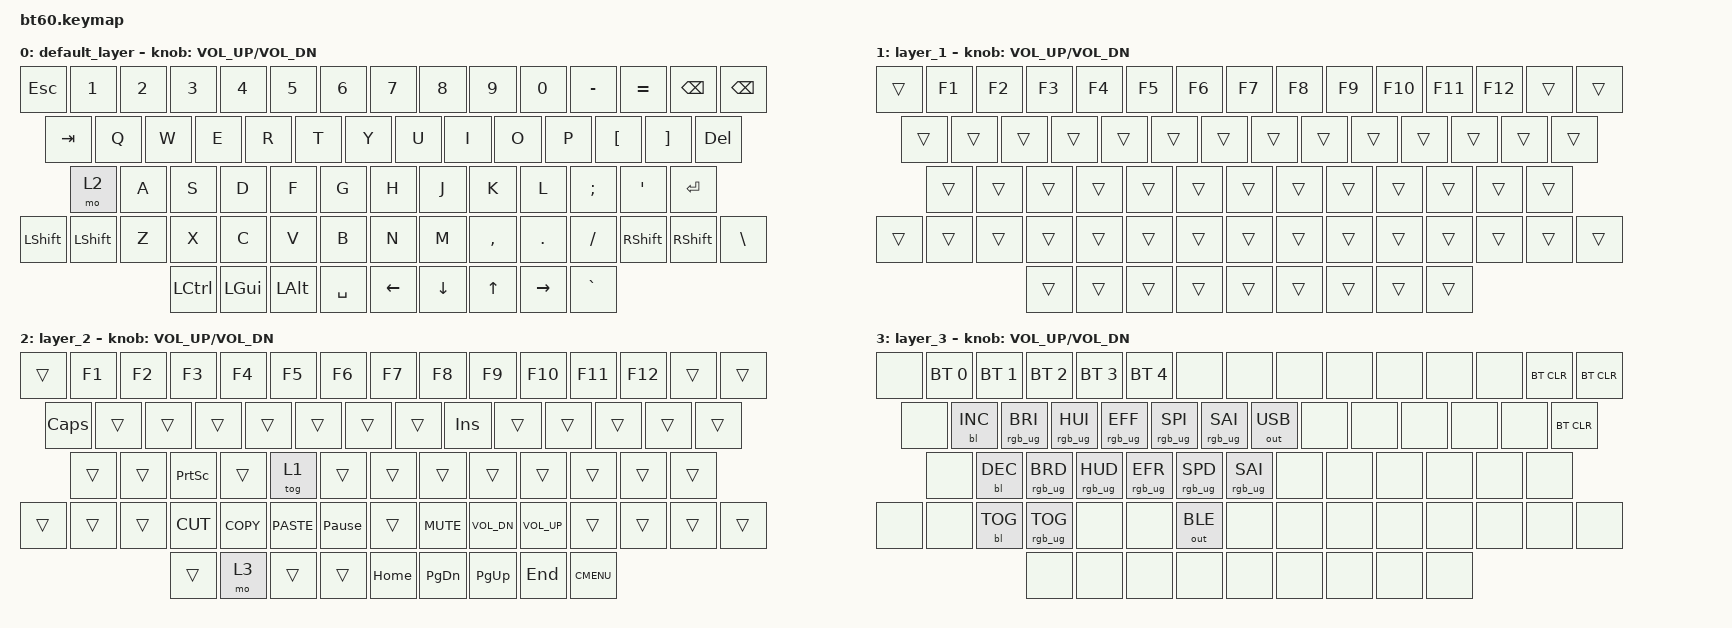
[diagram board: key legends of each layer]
#include <behaviors.dtsi>
#include <dt-bindings/zmk/keys.h>
#include <dt-bindings/zmk/bt.h>
#include <dt-bindings/zmk/rgb.h>
#include <dt-bindings/zmk/backlight.h>
#include <dt-bindings/zmk/ext_power.h>
#include <dt-bindings/zmk/outputs.h>

/ {
	keymap {
		compatible = "zmk,keymap";

		default_layer {
				// ------------------------------------------------------------------------------------------
				// | ESC |  1  |  2  |  3  |  4  |  5  |  6  |  7  |  8  |  9  |  0  |  -  |  =  |BKSP| BKSP |
				// | TAB  |  Q  |  W  |  E  |  R  |  T  |  Y  |  U  |  I  |  O  |  P  |  [  |  ]  |  DEL     |
				// | CAPS  |  A  |  S  |  D  |  F  |  G  |  H  |  J  |  K  |  L  |  ;  |  '  |     ENTER     |
				// | SHFT |SHFT|  Z  |  X  |  C  |  V  |  B  |  N  |  M  |  ,  |  .  | /   | SHFT | SHFT | \ |
				// |  CTL  |  WIN  |  ALT  |            SPACE              | LEFT | DOWN | UP | RIGHT    | ` |
				// ------------------------------------------------------------------------------------------
			bindings = <
				&kp ESC &kp N1 &kp N2 &kp N3 &kp N4 &kp N5 &kp N6 &kp N7 &kp  N8   &kp  N9 &kp  N0  &kp MINUS &kp EQUAL &kp BSPC &kp BSPC
				&kp TAB  &kp Q  &kp W  &kp E  &kp R  &kp T  &kp Y  &kp U  &kp  I    &kp  O  &kp  P   &kp LBKT &kp RBKT  &kp DEL
				&mo 2  &kp A  &kp S  &kp D  &kp F  &kp G  &kp H  &kp J  &kp  K    &kp  L  &kp SEMI &kp SQT           &kp RET
				&kp LSHFT &kp LSHFT  &kp Z  &kp X  &kp C  &kp V  &kp B  &kp N  &kp M  &kp COMMA &kp DOT &kp FSLH    &kp RSHFT &kp RSHFT   &kp BSLH
				&kp LCTRL &kp LGUI &kp LALT            &kp SPACE                          &kp LEFT  &kp DOWN &kp UP &kp RIGHT &kp GRAVE
			>;
			sensor-bindings = <&inc_dec_kp C_VOL_UP C_VOL_DN>;
		};
		// F-lock-layer (toggle via FN+F)
		layer_1 {
			bindings = <
				&trans &kp F1 &kp F2 &kp F3 &kp F4 &kp F5 &kp F6 &kp F7 &kp  F8   &kp  F9 &kp F10 &kp F11 &kp F12 &trans &trans
				&trans  &trans  &trans  &trans  &trans  &trans  &trans  &trans  &trans &trans &trans  &trans &trans  &trans
				&trans  &trans  &trans  &trans  &trans  &trans  &trans  &trans  &trans  &trans &trans &trans           &trans
				&trans &trans  &trans  &trans  &trans  &trans  &trans  &trans  &trans  &trans &trans &trans    &trans &trans   &trans
				&trans &trans &trans            &trans                          &trans  &trans &trans &trans &trans
			>;
			sensor-bindings = <&inc_dec_kp C_VOL_UP C_VOL_DN>;
		};
		// Function layer (momentary FN)
		layer_2 {
			bindings = <
				&trans &kp F1 &kp F2 &kp F3 &kp F4 &kp F5 &kp F6 &kp F7 &kp  F8   &kp  F9 &kp F10 &kp F11 &kp F12 &trans &trans
				&kp CAPS  &trans  &trans  &trans  &trans  &trans  &trans  &trans  &kp INS &trans &trans  &trans &trans  &trans
				&trans  &trans  &kp PSCRN  &trans  &tog 1  &trans  &trans  &trans  &trans  &trans &trans &trans           &trans
				&trans &trans &trans &kp K_CUT &kp K_COPY  &kp K_PASTE  &kp PAUSE_BREAK  &trans  &kp C_MUTE &kp C_VOL_DN &kp C_VOL_UP &trans &trans &trans &trans
				&trans  &mo 3 &trans            &trans                          &kp HOME &kp PG_DN &kp PG_UP &kp END &kp K_CMENU
			>;
			sensor-bindings = <&inc_dec_kp C_VOL_UP C_VOL_DN>;
		};

		// Bluetooth and lighting (momentary FN+WIN)
		layer_3 {
			bindings = <
				&none &bt BT_SEL 0 &bt BT_SEL 1 &bt BT_SEL 2 &bt BT_SEL 3 &bt BT_SEL 4 &none &none &none  &none &none &none &none &bt BT_CLR &bt BT_CLR
				&none  &bl BL_INC   &rgb_ug RGB_BRI &rgb_ug RGB_HUI &rgb_ug RGB_EFF &rgb_ug RGB_SPI &rgb_ug RGB_SAI  &out OUT_USB &none &none &none  &none &none  &bt BT_CLR
				&none  &bl BL_DEC   &rgb_ug RGB_BRD &rgb_ug RGB_HUD &rgb_ug RGB_EFR &rgb_ug RGB_SPD &rgb_ug RGB_SAI  &none  &none  &none &none &none           &none
				&none &none  &bl BL_TOG   &rgb_ug RGB_TOG &none  &none  &out OUT_BLE  &none  &none  &none &none &none    &none &none   &none
				&none  &none &none            &none                          &none &none &none &none &none
			>;
			sensor-bindings = <&inc_dec_kp C_VOL_UP C_VOL_DN>;
		};
	};
};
